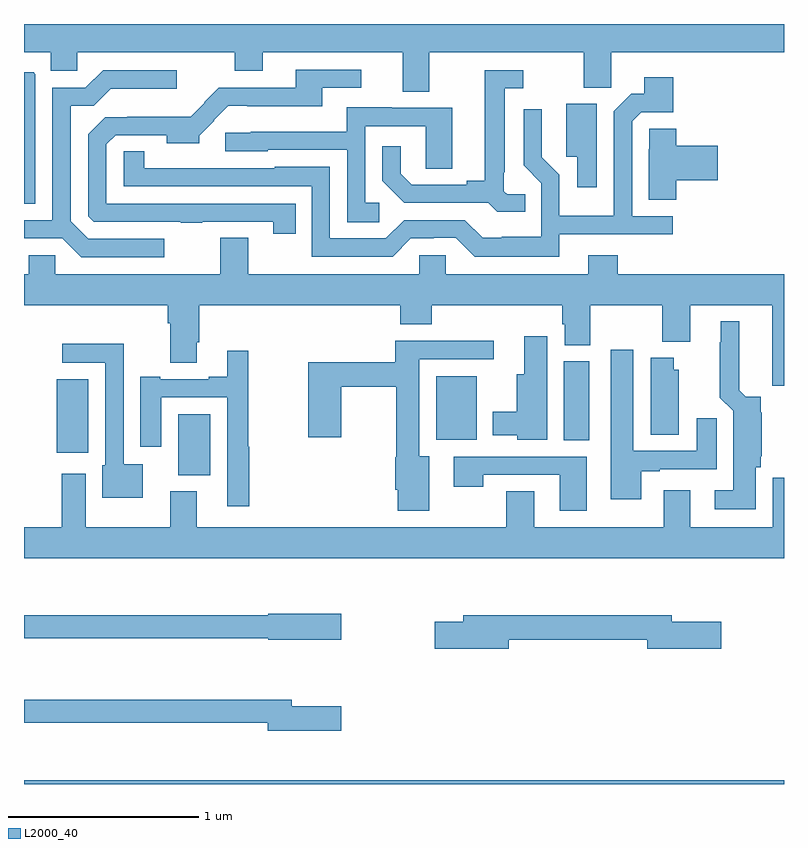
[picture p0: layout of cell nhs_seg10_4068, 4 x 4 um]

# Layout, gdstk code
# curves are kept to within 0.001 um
import gdstk
lib = gdstk.Library(unit=1e-6, precision=1e-09)
def R(c, l, rs):  # rectangles x0, y0, x1, y1
    for r in rs: c.add(gdstk.rectangle(r[:2], r[2:], *l))
def P(c, l, *ps):  # polygons
    for p in ps: c.add(gdstk.Polygon(p, *l))
L2000_40 = (2000, 40)

nhs_seg10_4068 = lib.new_cell('nhs_seg10_4068')
R(nhs_seg10_4068, L2000_40, [(337,1260.5,341,1260.52), (337.811,1262.126,337.981,1262.446), (337.172,1262.243,337.339,1262.629), (339.842,1262.308,339.976,1262.724), (339.17,1262.312,339.382,1262.647)])
P(nhs_seg10_4068, L2000_40, [(339.133,1264.352),(339.946,1264.352),(339.946,1264.165),(340.092,1264.165),(340.092,1264.352),(341,1264.352),(341,1264.5),(337,1264.5),(337,1264.352),(337.142,1264.352),(337.142,1264.254),(337.281,1264.254),(337.281,1264.352),(338.11,1264.352),(338.11,1264.253),(338.257,1264.253),(338.257,1264.352),(338.993,1264.352),(338.993,1264.144),(339.133,1264.144)],
  [(338.429,1263.555),(337.434,1263.555),(337.434,1263.867),(337.482,1263.915),(337.751,1263.915),(337.751,1263.872),(337.922,1263.872),(337.922,1263.912),(338.001,1263.99),(337.998,1263.993),(338.075,1264.07),(338.176,1264.07),(338.176,1264.067),(338.569,1264.067),(338.569,1264.164),(338.776,1264.164),(338.776,1264.26),(338.429,1264.26),(338.429,1264.164),(338.025,1264.164),(337.949,1264.087),(337.951,1264.085),(337.877,1264.012),(337.543,1264.012),(337.543,1264.01),(337.427,1264.01),(337.338,1263.921),(337.338,1263.489),(337.368,1263.459),(337.825,1263.459),(337.825,1263.454),(337.937,1263.454),(337.937,1263.459),(338.311,1263.459),(338.311,1263.396),(338.429,1263.396)],
  [(339.638,1263.603),(339.543,1263.603),(339.525,1263.621),(339.525,1263.721),(339.529,1263.721),(339.529,1264.161),(339.628,1264.161),(339.628,1264.257),(339.425,1264.257),(339.425,1263.674),(339.329,1263.674),(339.329,1263.654),(339.04,1263.654),(338.983,1263.711),(338.983,1263.856),(338.886,1263.856),(338.886,1263.674),(339.002,1263.558),(339.444,1263.558),(339.492,1263.511),(339.638,1263.511)],
  [(337.738,1263.369),(337.338,1263.369),(337.245,1263.462),(337.245,1264.069),(337.366,1264.069),(337.457,1264.16),(337.804,1264.16),(337.804,1264.257),(337.416,1264.257),(337.323,1264.164),(337.149,1264.164),(337.149,1263.468),(337,1263.468),(337,1263.372),(337.202,1263.372),(337.301,1263.273),(337.738,1263.273)],
  [(337.06,1264.235),(337.05,1264.245),(337,1264.245),(337,1263.553),(337.06,1263.553)],
  [(339.817,1263.393),(340.414,1263.393),(340.414,1263.489),(340.2,1263.489),(340.2,1263.987),(340.248,1264.035),(340.418,1264.035),(340.418,1264.219),(340.265,1264.219),(340.265,1264.134),(340.197,1264.134),(340.104,1264.041),(340.104,1263.49),(339.816,1263.49),(339.816,1263.706),(339.725,1263.798),(339.726,1264.051),(339.63,1264.051),(339.63,1263.756),(339.723,1263.663),(339.723,1263.379),(339.514,1263.379),(339.514,1263.375),(339.414,1263.375),(339.321,1263.468),(339,1263.468),(338.904,1263.372),(338.61,1263.372),(338.61,1263.748),(338.319,1263.748),(338.319,1263.741),(337.633,1263.742),(337.633,1263.83),(337.524,1263.83),(337.524,1263.645),(338.514,1263.645),(338.514,1263.276),(338.94,1263.276),(339.036,1263.372),(339.156,1263.372),(339.156,1263.375),(339.273,1263.375),(339.373,1263.275),(339.817,1263.275)],
  [(340.015,1264.08),(339.854,1264.08),(339.854,1263.801),(339.911,1263.801),(339.911,1263.642),(340.015,1263.642)],
  [(338.869,1263.558),(338.796,1263.558),(338.796,1263.963),(339.114,1263.963),(339.114,1263.739),(339.253,1263.739),(339.253,1264.059),(338.935,1264.059),(338.935,1264.063),(338.699,1264.063),(338.699,1263.934),(338.193,1263.934),(338.193,1263.927),(338.058,1263.927),(338.058,1263.831),(338.283,1263.831),(338.283,1263.837),(338.7,1263.837),(338.7,1263.457),(338.869,1263.457)],
  [(340.433,1263.677),(340.651,1263.677),(340.651,1263.86),(340.433,1263.86),(340.433,1263.95),(340.29,1263.95),(340.29,1263.842),(340.289,1263.842),(340.289,1263.574),(340.433,1263.574)],
  [(341,1263.184),(340.124,1263.184),(340.124,1263.283),(339.971,1263.283),(339.971,1263.184),(339.219,1263.184),(339.219,1263.282),(339.081,1263.282),(339.081,1263.184),(338.181,1263.184),(338.181,1263.374),(338.033,1263.374),(338.033,1263.184),(337.164,1263.184),(337.164,1263.282),(337.025,1263.282),(337.025,1263.184),(337,1263.184),(337,1263.02),(337.757,1263.02),(337.757,1262.924),(337.769,1262.924),(337.769,1262.716),(337.909,1262.716),(337.909,1262.824),(337.922,1262.824),(337.922,1263.02),(338.981,1263.02),(338.981,1262.921),(339.146,1262.921),(339.146,1263.02),(339.833,1263.02),(339.833,1262.919),(339.845,1262.919),(339.845,1262.809),(339.981,1262.809),(339.981,1263.02),(340.36,1263.02),(340.36,1262.828),(340.507,1262.828),(340.507,1263.02),(340.937,1263.02),(340.937,1262.595),(341,1262.595)],
  [(340.852,1262.166),(340.877,1262.166),(340.877,1262.226),(340.883,1262.226),(340.883,1262.453),(340.877,1262.459),(340.877,1262.538),(340.798,1262.538),(340.765,1262.572),(340.765,1262.935),(340.667,1262.935),(340.667,1262.825),(340.663,1262.825),(340.663,1262.534),(340.733,1262.464),(340.733,1262.047),(340.635,1262.047),(340.635,1261.946),(340.852,1261.946)],
  [(339.754,1262.857),(339.632,1262.857),(339.632,1262.656),(339.593,1262.656),(339.593,1262.458),(339.467,1262.458),(339.467,1262.336),(339.597,1262.336),(339.597,1262.312),(339.754,1262.312)],
  [(339.133,1262.224),(339.079,1262.224),(339.079,1262.736),(339.472,1262.736),(339.472,1262.834),(338.954,1262.834),(338.954,1262.719),(338.497,1262.719),(338.497,1262.325),(338.67,1262.325),(338.67,1262.59),(338.959,1262.59),(338.959,1262.22),(338.954,1262.22),(338.954,1262.05),(338.966,1262.05),(338.966,1261.938),(339.133,1261.938)],
  [(337.624,1262.182),(337.524,1262.182),(337.524,1262.816),(337.2,1262.816),(337.2,1262.718),(337.428,1262.718),(337.428,1262.178),(337.412,1262.178),(337.412,1262.006),(337.624,1262.006)],
  [(340.249,1262.145),(340.345,1262.145),(340.345,1262.157),(340.645,1262.157),(340.645,1262.425),(340.541,1262.425),(340.541,1262.253),(340.207,1262.253),(340.207,1262.785),(340.088,1262.785),(340.088,1261.998),(340.249,1261.998)],
  [(338.186,1262.274),(338.179,1262.274),(338.179,1262.779),(338.069,1262.779),(338.069,1262.644),(337.973,1262.644),(337.973,1262.631),(337.717,1262.631),(337.717,1262.644),(337.613,1262.644),(337.613,1262.274),(337.723,1262.274),(337.723,1262.535),(338.07,1262.535),(338.07,1261.962),(338.186,1261.962)],
  [(340.447,1262.679),(340.42,1262.679),(340.42,1262.743),(340.298,1262.743),(340.298,1262.338),(340.447,1262.338)],
  [(339.961,1262.223),(339.261,1262.223),(339.261,1262.064),(339.417,1262.064),(339.417,1262.127),(339.821,1262.127),(339.821,1261.938),(339.961,1261.938)],
  [(341,1262.113),(340.941,1262.113),(340.941,1261.852),(340.507,1261.852),(340.507,1262.047),(340.367,1262.047),(340.367,1261.852),(339.685,1261.852),(339.685,1262.042),(339.538,1262.042),(339.538,1261.852),(337.909,1261.852),(337.909,1262.041),(337.769,1262.041),(337.769,1261.852),(337.324,1261.852),(337.324,1262.134),(337.199,1262.134),(337.199,1261.852),(337,1261.852),(337,1261.688),(341,1261.688)],
  [(338.671,1261.395),(338.286,1261.395),(338.286,1261.387),(337,1261.387),(337,1261.266),(338.286,1261.266),(338.286,1261.258),(338.671,1261.258)],
  [(339.55,1261.258),(340.28,1261.258),(340.28,1261.211),(340.669,1261.211),(340.669,1261.353),(340.408,1261.353),(340.408,1261.387),(339.311,1261.387),(339.311,1261.353),(339.162,1261.353),(339.162,1261.211),(339.55,1261.211)],
  [(338.671,1260.909),(338.41,1260.909),(338.41,1260.943),(337,1260.943),(337,1260.822),(338.282,1260.822),(338.282,1260.779),(338.671,1260.779)])

lib.write_gds('nhs_seg10_4068.gds')
